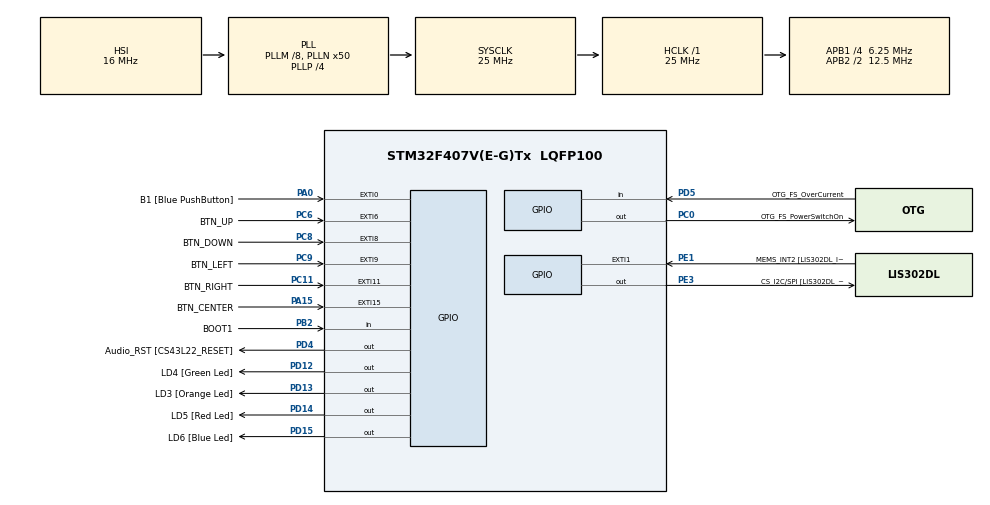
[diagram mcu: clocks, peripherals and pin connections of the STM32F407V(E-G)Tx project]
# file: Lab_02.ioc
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Mcu.Family=STM32F4
Mcu.Name=STM32F407V(E-G)Tx
Mcu.Package=LQFP100
NVIC.EXTI15_10_IRQn=true\:0\:0\:false\:false\:true\:true\:true
NVIC.EXTI9_5_IRQn=true\:0\:0\:false\:false\:true\:true\:true
NVIC.PriorityGroup=NVIC_PRIORITYGROUP_0
PA0-WKUP.GPIO_Label=B1 [Blue PushButton]
PA0-WKUP.Signal=GPXTI0
PA10.GPIO_Label=OTG_FS_ID
PA10.GPIO_Mode=GPIO_MODE_AF_PP
PA10.GPIO_PuPd=GPIO_NOPULL
PA10.GPIO_Speed=GPIO_SPEED_FREQ_LOW
PA10.Signal=USB_OTG_FS_ID
PA11.GPIO_Label=OTG_FS_DM
PA11.GPIO_Mode=GPIO_MODE_AF_PP
PA11.GPIO_PuPd=GPIO_NOPULL
PA11.GPIO_Speed=GPIO_SPEED_FREQ_LOW
PA11.Signal=USB_OTG_FS_DM
PA12.GPIO_Label=OTG_FS_DP
PA12.GPIO_Mode=GPIO_MODE_AF_PP
PA12.GPIO_PuPd=GPIO_NOPULL
PA12.GPIO_Speed=GPIO_SPEED_FREQ_LOW
PA12.Signal=USB_OTG_FS_DP
PA13.GPIO_Label=SWDIO
PA13.Signal=SYS_JTMS-SWDIO
PA14.GPIO_Label=SWCLK
PA14.Signal=SYS_JTCK-SWCLK
PA15.GPIO_Label=BTN_CENTER
PA15.GPIO_ModeDefaultEXTI=GPIO_MODE_IT_FALLING
PA15.Signal=GPXTI15
PA4.GPIO_Label=I2S3_WS [CS43L22_LRCK]
PA4.GPIO_Mode=GPIO_MODE_AF_PP
PA4.GPIO_PuPd=GPIO_NOPULL
PA4.GPIO_Speed=GPIO_SPEED_FREQ_LOW
PA4.Signal=I2S3_WS
PA5.GPIO_Label=SPI1_SCK [LIS302DL_SCL/SPC]
PA5.GPIO_Mode=GPIO_MODE_AF_PP
PA5.GPIO_PuPd=GPIO_NOPULL
PA5.GPIO_Speed=GPIO_SPEED_FREQ_LOW
PA5.Signal=SPI1_SCK
PA6.GPIO_Label=SPI1_MISO [LIS302DL_SDO]
PA6.GPIO_Mode=GPIO_MODE_AF_PP
PA6.GPIO_PuPd=GPIO_NOPULL
PA6.GPIO_Speed=GPIO_SPEED_FREQ_LOW
PA6.Signal=SPI1_MISO
PA7.GPIO_Label=SPI1_MOSI [LIS302DL_SDA/SDI/SDO]
PA7.GPIO_Mode=GPIO_MODE_AF_PP
PA7.GPIO_PuPd=GPIO_NOPULL
PA7.GPIO_Speed=GPIO_SPEED_FREQ_LOW
PA7.Signal=SPI1_MOSI
PA9.GPIO_Label=VBUS_FS
PA9.GPIO_Mode=GPIO_MODE_INPUT
PA9.GPIO_PuPd=GPIO_NOPULL
PA9.Signal=USB_OTG_FS_VBUS
PB10.GPIO_Label=CLK_IN [MP45DT02_CLK]
PB10.GPIO_Mode=GPIO_MODE_AF_PP
PB10.GPIO_PuPd=GPIO_NOPULL
PB10.GPIO_Speed=GPIO_SPEED_FREQ_LOW
PB10.Signal=I2S2_CK
PB2.GPIO_Label=BOOT1
PB2.GPIO_Mode=GPIO_MODE_INPUT
PB2.GPIO_PuPd=GPIO_NOPULL
PB2.Signal=GPIO_Input
PB3.GPIO_Label=SWO
PB3.Signal=SYS_JTDO-SWO
PB6.GPIO_Label=Audio_SCL [CS43L22_SCL]
PB6.GPIO_Mode=GPIO_MODE_AF_OD
PB6.GPIO_PuPd=GPIO_NOPULL
PB6.GPIO_Speed=GPIO_SPEED_FREQ_LOW
PB6.Signal=I2C1_SCL
PB9.GPIO_Label=Audio_SDA [CS43L22_SDA]
PB9.GPIO_Mode=GPIO_MODE_AF_OD
PB9.GPIO_PuPd=GPIO_NOPULL
PB9.GPIO_Speed=GPIO_SPEED_FREQ_LOW
PB9.Signal=I2C1_SDA
PC0.GPIO_Label=OTG_FS_PowerSwitchOn
PC0.GPIO_PuPd=GPIO_NOPULL
PC0.GPIO_Speed=GPIO_SPEED_FREQ_LOW
PC0.PinState=GPIO_PIN_SET
PC0.Signal=GPIO_Output
PC10.GPIO_Label=I2S3_SCK [CS43L22_SCLK]
PC10.GPIO_Mode=GPIO_MODE_AF_PP
PC10.GPIO_PuPd=GPIO_NOPULL
PC10.GPIO_Speed=GPIO_SPEED_FREQ_LOW
PC10.Signal=I2S3_CK
PC11.GPIO_Label=BTN_RIGHT
PC11.GPIO_ModeDefaultEXTI=GPIO_MODE_IT_FALLING
PC11.Signal=GPXTI11
PC12.GPIO_Label=I2S3_SD [CS43L22_SDIN]
PC12.GPIO_Mode=GPIO_MODE_AF_PP
PC12.GPIO_PuPd=GPIO_NOPULL
PC12.GPIO_Speed=GPIO_SPEED_FREQ_LOW
PC12.Signal=I2S3_SD
PC14-OSC32_IN.GPIO_Label=PC14-OSC32_IN
PC14-OSC32_IN.Signal=RCC_OSC32_IN
PC15-OSC32_OUT.GPIO_Label=PC15-OSC32_OUT
PC15-OSC32_OUT.Signal=RCC_OSC32_OUT
PC3.GPIO_Label=PDM_OUT [MP45DT02_DOUT]
PC3.GPIO_Mode=GPIO_MODE_AF_PP
PC3.GPIO_PuPd=GPIO_NOPULL
PC3.GPIO_Speed=GPIO_SPEED_FREQ_LOW
PC3.Signal=I2S2_SD
PC6.GPIO_Label=BTN_UP
PC6.GPIO_ModeDefaultEXTI=GPIO_MODE_IT_FALLING
PC6.Signal=GPXTI6
PC7.GPIO_Label=I2S3_MCK [CS43L22_MCLK]
PC7.GPIO_Mode=GPIO_MODE_AF_PP
PC7.GPIO_PuPd=GPIO_NOPULL
PC7.GPIO_Speed=GPIO_SPEED_FREQ_LOW
PC7.Signal=I2S3_MCK
PC8.GPIO_Label=BTN_DOWN
PC8.GPIO_ModeDefaultEXTI=GPIO_MODE_IT_FALLING
PC8.Signal=GPXTI8
PC9.GPIO_Label=BTN_LEFT
PC9.GPIO_ModeDefaultEXTI=GPIO_MODE_IT_FALLING
PC9.Signal=GPXTI9
PD12.GPIO_Label=LD4 [Green Led]
PD12.GPIO_PuPd=GPIO_NOPULL
PD12.GPIO_Speed=GPIO_SPEED_FREQ_LOW
PD12.Signal=GPIO_Output
PD13.GPIO_Label=LD3 [Orange Led]
PD13.GPIO_PuPd=GPIO_NOPULL
PD13.GPIO_Speed=GPIO_SPEED_FREQ_LOW
PD13.Signal=GPIO_Output
PD14.GPIO_Label=LD5 [Red Led]
PD14.GPIO_PuPd=GPIO_NOPULL
PD14.GPIO_Speed=GPIO_SPEED_FREQ_LOW
PD14.Signal=GPIO_Output
PD15.GPIO_Label=LD6 [Blue Led]
PD15.GPIO_PuPd=GPIO_NOPULL
PD15.GPIO_Speed=GPIO_SPEED_FREQ_LOW
PD15.Signal=GPIO_Output
PD4.GPIO_Label=Audio_RST [CS43L22_RESET]
PD4.GPIO_PuPd=GPIO_NOPULL
PD4.GPIO_Speed=GPIO_SPEED_FREQ_LOW
PD4.Signal=GPIO_Output
PD5.GPIO_Label=OTG_FS_OverCurrent
PD5.GPIO_Mode=GPIO_MODE_INPUT
PD5.GPIO_PuPd=GPIO_NOPULL
PD5.Signal=GPIO_Input
PE1.GPIO_Label=MEMS_INT2 [LIS302DL_INT2]
PE1.GPIO_ModeDefaultEXTI=GPIO_MODE_EVT_RISING
PE1.GPIO_PuPd=GPIO_NOPULL
PE1.Signal=GPXTI1
PE3.GPIO_Label=CS_I2C/SPI [LIS302DL_CS_I2C/SPI]
PE3.GPIO_PuPd=GPIO_NOPULL
PE3.GPIO_Speed=GPIO_SPEED_FREQ_LOW
PE3.Signal=GPIO_Output
PH0-OSC_IN.GPIO_Label=PH0-OSC_IN
PH0-OSC_IN.Signal=RCC_OSC_IN
PH1-OSC_OUT.GPIO_Label=PH1-OSC_OUT
PH1-OSC_OUT.Signal=RCC_OSC_OUT
ProjectManager.HeapSize=0x200
ProjectManager.StackSize=0x400
ProjectManager.TargetToolchain=STM32CubeIDE
RCC.48MHZClocksFreq_Value=14285714.285714285
RCC.AHBFreq_Value=25000000
RCC.APB1CLKDivider=RCC_HCLK_DIV4
RCC.APB1Freq_Value=6250000
RCC.APB1TimFreq_Value=12500000
RCC.APB2CLKDivider=RCC_HCLK_DIV2
RCC.APB2Freq_Value=12500000
RCC.APB2TimFreq_Value=25000000
RCC.CortexFreq_Value=25000000
RCC.HCLKFreq_Value=25000000
RCC.HSE_VALUE=8000000
RCC.HSI_VALUE=16000000
RCC.LSE_VALUE=32768
RCC.PLLM=8
RCC.PLLN=50
RCC.PLLP=RCC_PLLP_DIV4
RCC.PLLQ=7
RCC.SYSCLKFreq_VALUE=25000000
RCC.SYSCLKSource=RCC_SYSCLKSOURCE_PLLCLK
RCC.VCOOutputFreq_Value=100000000
board=STM32F407G-DISC1

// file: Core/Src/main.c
/* USER CODE BEGIN Header */
/**
  ******************************************************************************
  * @file           : main.c
  * @brief          : Main program body
  ******************************************************************************
  * @attention
  *
  * <h2><center>&copy; Copyright (c) 2021 STMicroelectronics.
  * All rights reserved.</center></h2>
  *
  * This software component is licensed by ST under BSD 3-Clause license,
  * the "License"; You may not use this file except in compliance with the
  * License. You may obtain a copy of the License at:
  *                        opensource.org/licenses/BSD-3-Clause
  *
  ******************************************************************************
  */
/* USER CODE END Header */
#include "main.h"
#include "gpio.h"

/* USER CODE BEGIN Includes */
#include <stdbool.h>
/* USER CODE END Includes */

/* USER CODE BEGIN PTD */
typedef struct
{
	GPIO_TypeDef *port;
	uint16_t pin;
} LED_GPIO_t;

enum LED
{
	LED_GREEN,
	LED_ORANGE,
	LED_RED,
	LED_BLUE,
	LED_COUNT
} LED_t;

/* USER CODE END PTD */

/* USER CODE BEGIN PD */
#define PATTERN_COUNT 4
#define FRAME_COUNT 4
/* USER CODE END PD */

/* USER CODE BEGIN PV */
static char patterns[PATTERN_COUNT][FRAME_COUNT][LED_COUNT] = {{{1, 1, 0, 0}, {0, 1, 1, 0}, {0, 0, 1, 1}, {1, 0, 0, 1}},
															   {{1, 1, 0, 0}, {1, 0, 0, 1}, {0, 0, 1, 1}, {0, 1, 1, 0}},
															   {{1, 1, 1, 1}, {0, 0, 0, 0}, {1, 1, 1, 1}, {0, 0, 0, 0}},
															   {{0, 1, 0, 1}, {1, 0, 1, 0}, {0, 1, 0, 1}, {1, 0, 1, 0}}};

static LED_GPIO_t leds[] = {[LED_GREEN] = 	{GPIOD, GPIO_PIN_12},
					 	 	[LED_ORANGE] =  {GPIOD, GPIO_PIN_13},
							[LED_RED] = 	{GPIOD, GPIO_PIN_14},
							[LED_BLUE] = 	{GPIOD, GPIO_PIN_15}};

static uint32_t frame_interval = 200;
static uint32_t pattern_index = 0;
static uint32_t frame_index = 0;
static bool leds_on_flag = true;
/* USER CODE END PV */

void SystemClock_Config(void);
/* USER CODE BEGIN PFP */
void LED_Show_Effect(void);
void LED_Next_Frame(void);
void LED_Previous_Frame(void);
void LED_Increase_Speed(void);
void LED_Decrease_Speed(void);
/* USER CODE END PFP */

int main(void)
{

  /* MCU Configuration--------------------------------------------------------*/

  /* Reset of all peripherals, Initializes the Flash interface and the Systick. */
  HAL_Init();

  /* Configure the system clock */
  SystemClock_Config();

  /* Initialize all configured peripherals */
  MX_GPIO_Init();
  /* USER CODE BEGIN 2 */
  uint32_t current_time = HAL_GetTick();
  uint32_t previous_time = current_time;
  /* USER CODE END 2 */

  /* Infinite loop */
  /* USER CODE BEGIN WHILE */
  while (1)
  {
	  if (leds_on_flag)
	  {
		  current_time = HAL_GetTick();
		  if ((current_time - previous_time) >= frame_interval)
		  {
			  LED_Show_Effect();
			  previous_time = current_time;
		  }
	  }

    /* USER CODE END WHILE */

  }
}

void SystemClock_Config(void)
{
  RCC_OscInitTypeDef RCC_OscInitStruct = {0};
  RCC_ClkInitTypeDef RCC_ClkInitStruct = {0};

  /** Configure the main internal regulator output voltage
  */
  __HAL_RCC_PWR_CLK_ENABLE();
  __HAL_PWR_VOLTAGESCALING_CONFIG(PWR_REGULATOR_VOLTAGE_SCALE1);
  /** Initializes the RCC Oscillators according to the specified parameters
  * in the RCC_OscInitTypeDef structure.
  */
  RCC_OscInitStruct.OscillatorType = RCC_OSCILLATORTYPE_HSI;
  RCC_OscInitStruct.HSIState = RCC_HSI_ON;
  RCC_OscInitStruct.HSICalibrationValue = RCC_HSICALIBRATION_DEFAULT;
  RCC_OscInitStruct.PLL.PLLState = RCC_PLL_ON;
  RCC_OscInitStruct.PLL.PLLSource = RCC_PLLSOURCE_HSI;
  RCC_OscInitStruct.PLL.PLLM = 8;
  RCC_OscInitStruct.PLL.PLLN = 50;
  RCC_OscInitStruct.PLL.PLLP = RCC_PLLP_DIV4;
  RCC_OscInitStruct.PLL.PLLQ = 7;
  if (HAL_RCC_OscConfig(&RCC_OscInitStruct) != HAL_OK)
  {
    Error_Handler();
  }
  /** Initializes the CPU, AHB and APB buses clocks
  */
  RCC_ClkInitStruct.ClockType = RCC_CLOCKTYPE_HCLK|RCC_CLOCKTYPE_SYSCLK
                              |RCC_CLOCKTYPE_PCLK1|RCC_CLOCKTYPE_PCLK2;
  RCC_ClkInitStruct.SYSCLKSource = RCC_SYSCLKSOURCE_PLLCLK;
  RCC_ClkInitStruct.AHBCLKDivider = RCC_SYSCLK_DIV1;
  RCC_ClkInitStruct.APB1CLKDivider = RCC_HCLK_DIV4;
  RCC_ClkInitStruct.APB2CLKDivider = RCC_HCLK_DIV2;

  if (HAL_RCC_ClockConfig(&RCC_ClkInitStruct, FLASH_LATENCY_0) != HAL_OK)
  {
    Error_Handler();
  }
}

/* USER CODE BEGIN 4 */
void LED_Show_Effect(void)
{
	for (uint32_t led_index = 0; led_index < LED_COUNT; led_index++)
	{
		HAL_GPIO_WritePin(leds[led_index].port, leds[led_index].pin, patterns[pattern_index][frame_index][led_index]);
	}

	frame_index = (frame_index + 1) % FRAME_COUNT;
}

void LED_Next_Frame(void)
{
	if (pattern_index < (PATTERN_COUNT - 1))
	{
		pattern_index++;
		frame_index = 0;
	}
}

void LED_Previous_Frame(void)
{
	if (pattern_index > 0)
	{
		pattern_index--;
		frame_index = 0;
	}
}
void LED_Increase_Speed(void)
{
	if (frame_interval >= 100)
	{
		frame_interval /= 2;
	}
}
void LED_Decrease_Speed(void)
{
	if (frame_interval <= 1000)
	{
		frame_interval *= 2;
	}
}

void HAL_GPIO_EXTI_Callback(uint16_t GPIO_Pin)
{
	switch (GPIO_Pin)
	{
		case BTN_CENTER_Pin:
			leds_on_flag = !leds_on_flag;
			frame_index = 0;
			for (uint32_t led_index = 0; led_index < LED_COUNT; led_index++)
				{
					HAL_GPIO_WritePin(leds[led_index].port, leds[led_index].pin, GPIO_PIN_RESET);
				}
			break;
		case BTN_LEFT_Pin:
			LED_Previous_Frame();
			break;
		case BTN_RIGHT_Pin:
			LED_Next_Frame();
			break;
		case BTN_UP_Pin:
			LED_Increase_Speed();
			break;
		case BTN_DOWN_Pin:
			LED_Decrease_Speed();
			break;
	}
}
/* USER CODE END 4 */

void Error_Handler(void)
{
  __disable_irq();
  while (1)
  {
  }
}

/************************ (C) COPYRIGHT STMicroelectronics *****END OF FILE****/
